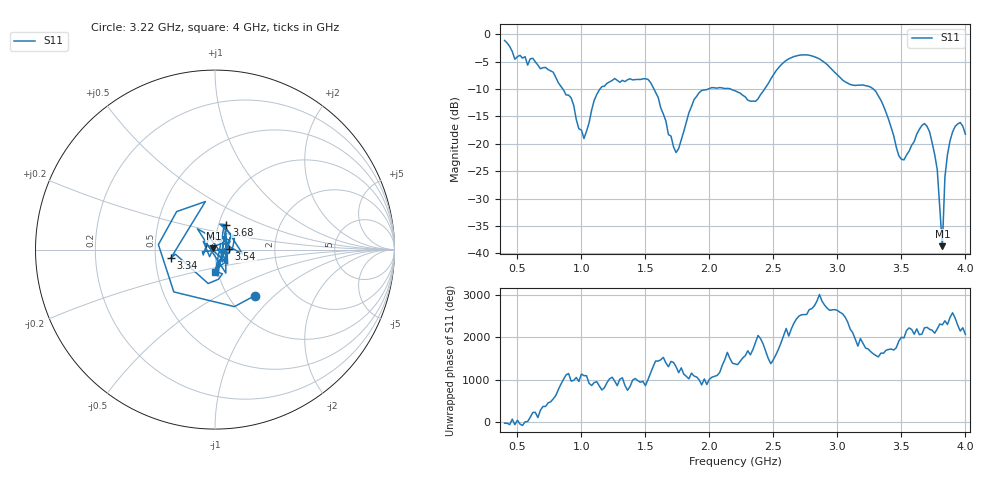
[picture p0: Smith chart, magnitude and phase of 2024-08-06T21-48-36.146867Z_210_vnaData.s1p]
!Created with skrf (http://scikit-rf.org).
# Hz S RI R 50.0
!freq ReS11 ImS11
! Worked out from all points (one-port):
!   181 points, 400 MHz to 4 GHz, reference 50 ohm
!   lowest |S11| = -38.7 dB at 3.82 GHz (marker M1), VSWR 1.02, Z = 49.1 + j0.756 ohm
!   |S11| at or under -10 dB: 854.8 MHz to 1.146 GHz (290.7 MHz wide, 29.1 % of centre); 1.567 GHz to 1.991 GHz (424.9 MHz wide, 23.9 % of centre); 3.28 GHz to end of sweep (the widest 3 of 4)
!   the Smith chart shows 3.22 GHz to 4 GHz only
!   S11 on the Smith chart (normalised r, x): 3.22 GHz: 1.31, -0.76; 3.34 GHz: 0.60, -0.06; 3.54 GHz: 1.17, +0.01; 3.68 GHz: 1.09, +0.31; 4 GHz: 0.97, -0.24
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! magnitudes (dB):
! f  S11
! 400 MHz  -1.1
! 480 MHz  -4.6
! 620 MHz  -4.4
! 860 MHz  -10.2
! 920 MHz  -11.6
! 1.02 GHz  -19.0
! 1.14 GHz  -10.2
! 1.3 GHz  -8.8
! 1.52 GHz  -8.3
! 1.76 GHz  -20.9
! 1.92 GHz  -10.7
! 2.2 GHz  -10.3
! 2.36 GHz  -12.3
! 2.66 GHz  -4.1
! 2.86 GHz  -4.5
! 3.1 GHz  -9.2
! 3.22 GHz  -9.4
! 3.34 GHz  -12.0
! 3.48 GHz  -22.2
! 3.54 GHz  -22.1
! 3.56 GHz  -21.4
! 3.68 GHz  -16.3
! 3.78 GHz  -24.7
! 3.82 GHz  -38.7
! 3.84 GHz  -26.1
! 3.88 GHz  -19.5
! 3.96 GHz  -16.1
! 4 GHz  -18.3
